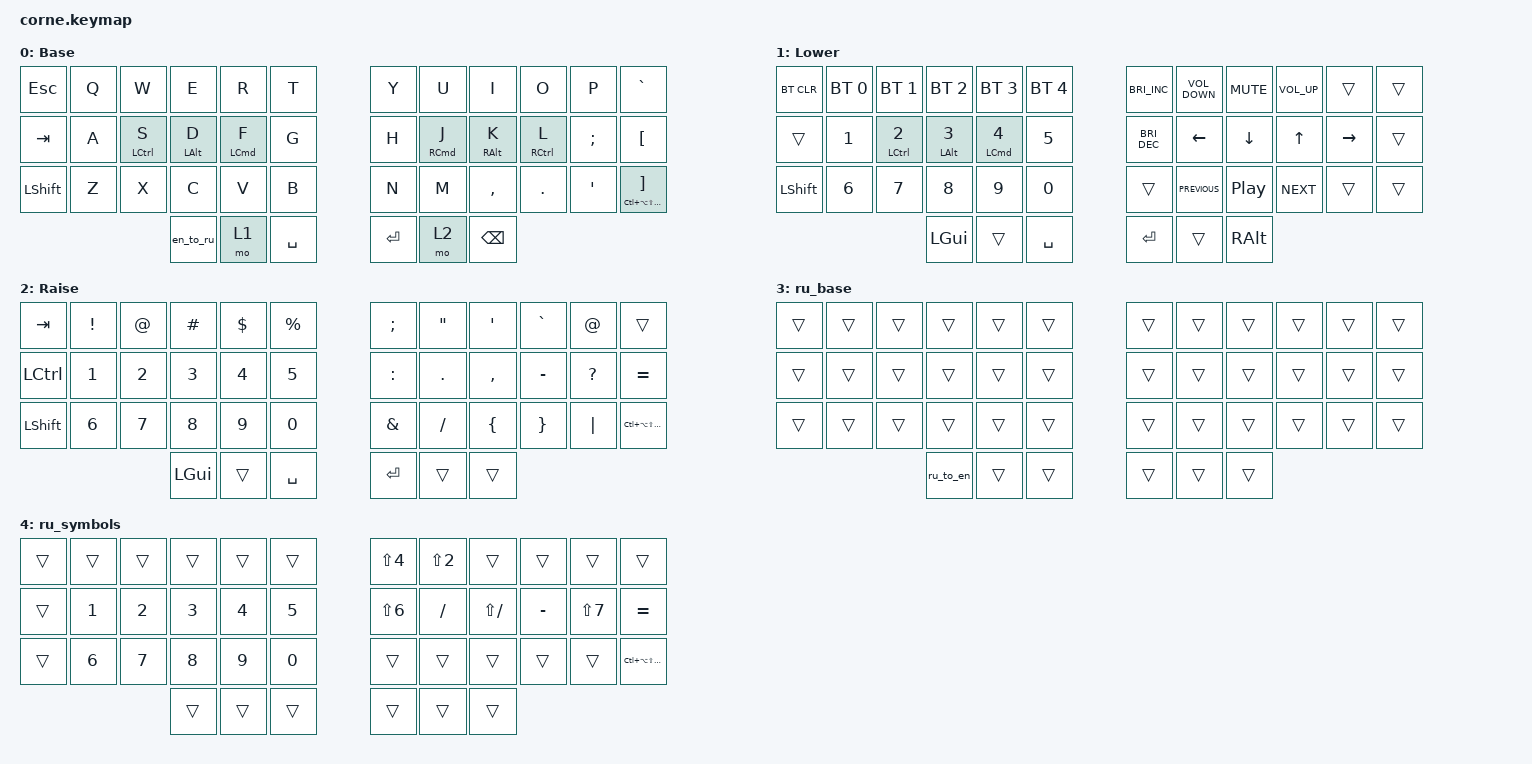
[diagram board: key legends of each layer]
/*
 * Copyright (c) 2020 The ZMK Contributors
 *
 * SPDX-License-Identifier: MIT
 */

#include <behaviors.dtsi>
#include <dt-bindings/zmk/bt.h>
#include <dt-bindings/zmk/keys.h>

/ {
    behaviors {
        HMR: HMR {
            compatible = "zmk,behavior-hold-tap";
            label = "HMR";
            bindings = <&kp>, <&kp>;

            #binding-cells = <2>;
            tapping-term-ms = <210>;
            quick-tap-ms = <175>;
            flavor = "balanced";
            require-prior-idle-ms = <200>;
        };

        HML: HML {
            compatible = "zmk,behavior-hold-tap";
            label = "HML";
            bindings = <&kp>, <&kp>;

            #binding-cells = <2>;
            tapping-term-ms = <210>;
            quick-tap-ms = <175>;
            flavor = "balanced";
            require-prior-idle-ms = <200>;
        };
    };

    combos {
        compatible = "zmk,combos";

        symbol_left_brace {
            bindings = <&kp LEFT_BRACE>;
            key-positions = <4 3>;
        };

        symbol_right_brace {
            bindings = <&kp RIGHT_BRACE>;
            key-positions = <7 8>;
        };

        symbol_left_bracket {
            bindings = <&kp LEFT_BRACKET>;
            key-positions = <4 5>;
        };

        symbol_right_bracket {
            bindings = <&kp RIGHT_BRACKET>;
            key-positions = <6 7>;
        };

        symbol_less_than {
            bindings = <&kp LESS_THAN>;
            key-positions = <28 29>;
        };

        symbol_greater_than {
            bindings = <&kp GREATER_THAN>;
            key-positions = <30 31>;
        };
    };

    macros {
        en_to_ru: change_lang_to_ru {
            compatible = "zmk,behavior-macro";
            #binding-cells = <0>;
            bindings = <&kp LC(SPACE) &to 3>;
            label = "CHANGE_LANG_TO_RU";
        };

        ru_to_en: ru_to_en {
            compatible = "zmk,behavior-macro";
            #binding-cells = <0>;
            bindings = <&kp LC(SPACE) &to 0>;
            label = "RU_TO_EN";
        };
    };

    keymap {
        compatible = "zmk,keymap";

        default_layer {
            // -----------------------------------------------------------------------------------------
            // |  TAB |  Q  |  W  |  E  |  R  |  T  |   |  Y  |  U   |  I  |  O  |  P  | BKSP |
            // | CTRL |  A  |  S  |  D  |  F  |  G  |   |  H  |  J   |  K  |  L  |  ;  |  '   |
            // | SHFT |  Z  |  X  |  C  |  V  |  B  |   |  N  |  M   |  ,  |  .  |  /  | ESC  |
            //                    | GUI | LWR | SPC |   | ENT | RSE  | ALT |

            display-name = "Base";
            bindings = <
&kp ESCAPE  &kp Q  &kp W                &kp E            &kp R                &kp T        &kp Y    &kp U                 &kp I             &kp O                 &kp P     &kp GRAVE
&kp TAB     &kp A  &HML LEFT_CONTROL S  &HML LEFT_ALT D  &HML LEFT_COMMAND F  &kp G        &kp H    &HMR RIGHT_COMMAND J  &HMR RIGHT_ALT K  &HMR RIGHT_CONTROL L  &kp SEMI  &kp LEFT_BRACKET
&kp LSHFT   &kp Z  &kp X                &kp C            &kp V                &kp B        &kp N    &kp M                 &kp COMMA         &kp DOT               &kp SQT   &HMR LC(LA(LS(LG(LSHFT)))) RIGHT_BRACKET
                                        &en_to_ru        &mo 1                &kp SPACE    &kp RET  &mo 2                 &kp BACKSPACE
            >;
        };

        lower_layer {
            // -----------------------------------------------------------------------------------------
            // |  TAB |  1  |  2  |  3  |  4  |  5  |   |  6  |  7  |  8  |  9  |  0  | BKSP |
            // | BTCLR| BT1 | BT2 | BT3 | BT4 | BT5 |   | LFT | DWN |  UP | RGT |     |      |
            // | SHFT |     |     |     |     |     |   |     |     |     |     |     |      |
            //                    | GUI |     | SPC |   | ENT |     | ALT |

            display-name = "Lower";
            bindings = <
&bt BT_CLR  &bt BT_SEL 0  &bt BT_SEL 1                &bt BT_SEL 2            &bt BT_SEL 3                &bt BT_SEL 4    &kp C_BRIGHTNESS_INC  &kp C_VOLUME_DOWN  &kp K_MUTE        &kp C_VOLUME_UP  &trans     &trans
&trans      &kp NUMBER_1  &HML LEFT_CONTROL NUMBER_2  &HML LEFT_ALT NUMBER_3  &HML LEFT_COMMAND NUMBER_4  &kp NUMBER_5    &kp C_BRIGHTNESS_DEC  &kp LEFT           &kp DOWN          &kp UP           &kp RIGHT  &trans
&kp LSHFT   &kp NUMBER_6  &kp NUMBER_7                &kp NUMBER_8            &kp NUMBER_9                &kp NUMBER_0    &trans                &kp C_PREVIOUS     &kp C_PLAY_PAUSE  &kp C_NEXT       &trans     &trans
                                                      &kp LGUI                &trans                      &kp SPACE       &kp RET               &trans             &kp RALT
            >;
        };

        raise_layer {
            // -----------------------------------------------------------------------------------------
            // |  TAB |  !  |  @  |  #  |  $  |  %  |   |  ^  |  &  |  *  |  (  |  )  | BKSP |
            // | CTRL |     |     |     |     |     |   |  -  |  =  |  [  |  ]  |  \  |  `   |
            // | SHFT |     |     |     |     |     |   |  _  |  +  |  {  |  }  | "|" |  ~   |
            //                    | GUI |     | SPC |   | ENT |     | ALT |

            display-name = "Raise";
            bindings = <
&kp TAB    &kp EXCL      &kp AT        &kp HASH      &kp DLLR      &kp PRCNT       &kp SEMICOLON  &kp DOUBLE_QUOTES  &kp SINGLE_QUOTE  &kp GRAVE  &kp AT_SIGN   &trans
&kp LCTRL  &kp NUMBER_1  &kp NUMBER_2  &kp NUMBER_3  &kp NUMBER_4  &kp NUMBER_5    &kp COLON      &kp PERIOD         &kp COMMA         &kp MINUS  &kp QUESTION  &kp EQUAL
&kp LSHFT  &kp NUMBER_6  &kp NUMBER_7  &kp NUMBER_8  &kp NUMBER_9  &kp NUMBER_0    &kp AMPERSAND  &kp SLASH          &kp LBRC          &kp RBRC   &kp PIPE      &kp LC(LA(LS(LG(RIGHT_SHIFT))))
                                       &kp LGUI      &trans        &kp SPACE       &kp RET        &trans             &trans
            >;
        };

        ru_base {
            bindings = <
&trans  &trans  &trans  &trans     &trans  &trans    &trans  &trans  &trans  &trans  &trans  &trans
&trans  &trans  &trans  &trans     &trans  &trans    &trans  &trans  &trans  &trans  &trans  &trans
&trans  &trans  &trans  &trans     &trans  &trans    &trans  &trans  &trans  &trans  &trans  &trans
                        &ru_to_en  &trans  &trans    &trans  &trans  &trans
            >;
        };

        ru_symbols {
            bindings = <
&trans  &trans        &trans        &trans        &trans        &trans          &kp LS(NUMBER_4)  &kp LS(NUMBER_2)  &trans        &trans     &trans            &trans
&trans  &kp NUMBER_1  &kp NUMBER_2  &kp NUMBER_3  &kp NUMBER_4  &kp NUMBER_5    &kp LS(NUMBER_6)  &kp FSLH          &kp LS(FSLH)  &kp MINUS  &kp LS(NUMBER_7)  &kp EQUAL
&trans  &kp NUMBER_6  &kp NUMBER_7  &kp NUMBER_8  &kp NUMBER_9  &kp NUMBER_0    &trans            &trans            &trans        &trans     &trans            &kp LC(LA(LS(LG(RIGHT_SHIFT))))
                                    &trans        &trans        &trans          &trans            &trans            &trans
            >;
        };
    };

    conditional_layers {
        compatible = "zmk,conditional-layers";

        ru_symbols_change {
            if-layers = <3 2>;
            then-layer = <4>;
        };
    };
};
